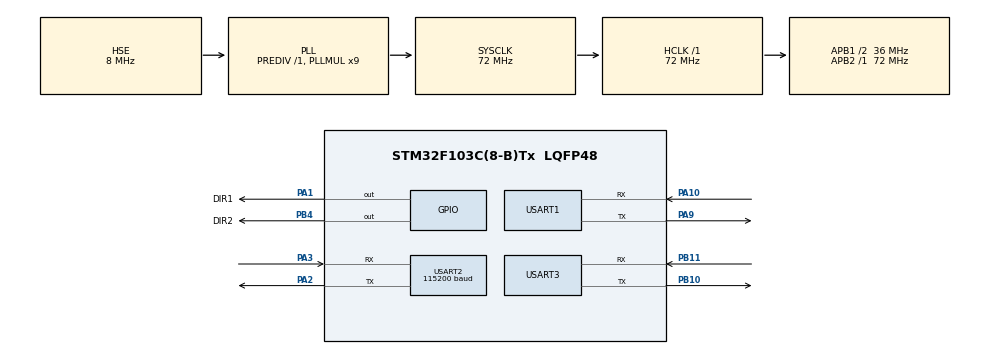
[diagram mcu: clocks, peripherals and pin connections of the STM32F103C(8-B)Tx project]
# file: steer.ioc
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Dma.Request0=USART1_RX
Dma.USART1_RX.0.Direction=DMA_PERIPH_TO_MEMORY
Dma.USART1_RX.0.Instance=DMA1_Channel5
Dma.USART1_RX.0.MemDataAlignment=DMA_MDATAALIGN_BYTE
Dma.USART1_RX.0.MemInc=DMA_MINC_ENABLE
Dma.USART1_RX.0.Mode=DMA_CIRCULAR
Dma.USART1_RX.0.PeriphDataAlignment=DMA_PDATAALIGN_BYTE
Dma.USART1_RX.0.PeriphInc=DMA_PINC_DISABLE
Dma.USART1_RX.0.Priority=DMA_PRIORITY_LOW
Mcu.Family=STM32F1
Mcu.Name=STM32F103C(8-B)Tx
Mcu.Package=LQFP48
NVIC.DMA1_Channel5_IRQn=true\:0\:0\:false\:false\:true\:false\:true\:true
NVIC.PriorityGroup=NVIC_PRIORITYGROUP_4
NVIC.USART1_IRQn=true\:0\:0\:false\:false\:true\:true\:true\:true
NVIC.USART2_IRQn=true\:0\:0\:false\:false\:true\:true\:true\:true
NVIC.USART3_IRQn=true\:0\:0\:false\:false\:true\:true\:true\:true
PA1.GPIO_Label=DIR1
PA1.PinState=GPIO_PIN_RESET
PA1.Signal=GPIO_Output
PA10.Mode=Asynchronous
PA10.Signal=USART1_RX
PA13.Mode=Serial_Wire
PA13.Signal=SYS_JTMS-SWDIO
PA14.Mode=Serial_Wire
PA14.Signal=SYS_JTCK-SWCLK
PA2.Mode=Asynchronous
PA2.Signal=USART2_TX
PA3.Mode=Asynchronous
PA3.Signal=USART2_RX
PA9.Mode=Asynchronous
PA9.Signal=USART1_TX
PB10.Mode=Asynchronous
PB10.Signal=USART3_TX
PB11.Mode=Asynchronous
PB11.Signal=USART3_RX
PB4.GPIO_Label=DIR2
PB4.Signal=GPIO_Output
PC14-OSC32_IN.Mode=LSE-External-Oscillator
PC14-OSC32_IN.Signal=RCC_OSC32_IN
PC15-OSC32_OUT.Mode=LSE-External-Oscillator
PC15-OSC32_OUT.Signal=RCC_OSC32_OUT
PD0-OSC_IN.Mode=HSE-External-Oscillator
PD0-OSC_IN.Signal=RCC_OSC_IN
PD1-OSC_OUT.Mode=HSE-External-Oscillator
PD1-OSC_OUT.Signal=RCC_OSC_OUT
ProjectManager.HeapSize=0x200
ProjectManager.StackSize=0x400
ProjectManager.TargetToolchain=STM32CubeIDE
RCC.AHBFreq_Value=72000000
RCC.APB1CLKDivider=RCC_HCLK_DIV2
RCC.APB1Freq_Value=36000000
RCC.APB1TimFreq_Value=72000000
RCC.APB2Freq_Value=72000000
RCC.APB2TimFreq_Value=72000000
RCC.HCLKFreq_Value=72000000
RCC.PLLMUL=RCC_PLL_MUL9
RCC.PLLSourceVirtual=RCC_PLLSOURCE_HSE
RCC.SYSCLKFreq_VALUE=72000000
RCC.SYSCLKSource=RCC_SYSCLKSOURCE_PLLCLK
RCC.USBFreq_Value=72000000
USART1.VirtualMode=VM_ASYNC
USART2.BaudRate=115200
USART2.VirtualMode=VM_ASYNC
USART3.VirtualMode=VM_ASYNC
VP_TIM1_VS_ClockSourceINT.Mode=Internal
board=custom

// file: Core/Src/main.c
/* USER CODE BEGIN Header */
/**
  ******************************************************************************
  * @file           : main.c
  * @brief          : Main program body
  ******************************************************************************
  * @attention
  *
  * Copyright (c) 2025 STMicroelectronics.
  * All rights reserved.
  *
  * This software is licensed under terms that can be found in the LICENSE file
  * in the root directory of this software component.
  * If no LICENSE file comes with this software, it is provided AS-IS.
  *
  ******************************************************************************
  */
/* USER CODE END Header */
#include "main.h"
#include "dma.h"
#include "tim.h"
#include "usart.h"
#include "gpio.h"

/* USER CODE BEGIN Includes */
#include "uart_protocol.h"
/* USER CODE END Includes */

/* USER CODE BEGIN PTD */
ServoState_t ServoTargets[9];
volatile uint8_t NewPositionAvailable = 0;
volatile uint8_t NewSpeedAvailable = 0;

typedef struct {
    uint8_t id;
    uint16_t length;
    uint8_t inst;
    uint8_t error;
    uint16_t position;
    uint8_t crc1;
    uint8_t crc2;
} X320PositionInfo;
/* USER CODE END PTD */

/* USER CODE BEGIN PV */
/*                  		֡ͷ                  id      length       instruct    address     parameters               crc          */
uint8_t torqueFrame[]={  0xFF,0xFF,0xFD,0x00,  0x00,   0x06,0x00,   0x03,      0x40,0x00,   0x01,                   0x00,0x00};
uint8_t ledFrame[]={     0xFF,0xFF,0xFD,0x00,  0x00,   0x06,0x00,   0x03,      0x19,0x00,   0x01,                   0x00,0x00};
uint8_t ctrlModeFrame[]={0xFF,0xFF,0xFD,0x00,  0x00,   0x06,0x00,   0x03,      0x0B,0x00,   0x02,                   0x00,0x00};
uint8_t xl320PFrame[]={  0xFF,0xFF,0xFD,0x00,  0x00,   0x07,0x00,   0x03,      0x1e,0x00,   0x01,0x00,              0x65,0x6D};
uint8_t xl320MSFrame[]={ 0xFF,0xFF,0xFD,0x00,  0x00,   0x07,0x00,   0x03,      0x20,0x00,   0x01,0x00,              0x65,0x6D};
uint8_t xl320PGFrame[]={ 0xFF,0xFF,0xFD,0x00,  0x00,   0x06,0x00,   0x03,      0x1D,0x00,   0x20,                   0x65,0x6D};

uint8_t xl320PRead[]={   0xFF,0xFF,0xFD,0x00,  0x00,   0x07,0x00,   0x02,      0x25,0x00,   0x02,0x00,              0x21,0xB5};
uint8_t xl320ReadMovingCmd[] = {0xFF, 0xFF, 0xFD, 0x00, 0x01, 0x07, 0x00, 0x02, 0x31, 0x00, 0x01, 0x00, 0x00, 0x00};
X320PositionInfo *xl320_1=0;
uint8_t xl320_1_data[9];

// 添加读取位置指令帧
uint8_t xl320ReadGoalPosition[] = {0xFF,0xFF,0xFD,0x00,0x00,0x07,0x00,0x02,0x25,0x00,0x02,0x00,0x21,0xB5};

// 串口接收缓冲区
uint8_t uart2_rx_buffer[32];

#define UART1_RX_BUFFER_SIZE 32
uint8_t uart1_rx_buffer[UART1_RX_BUFFER_SIZE]; // 存储接收到的一行指令
uint8_t aRxBuffer[1]; // 接收中断缓冲
volatile uint16_t uart1_rx_index = 0;          // 接收缓冲区的索引
volatile uint8_t uart1_flag = 0;   // 一行数据接收完成的标志

char message[50];
 uint16_t len;

#define XL320_ADDR_MOVING     49  // Moving寄存器地址 (0x31)
#define READ_INST             0x02 // 读指令

/* USER CODE END PV */

void SystemClock_Config(void);

int main(void)
{

  /* MCU Configuration--------------------------------------------------------*/

  /* Reset of all peripherals, Initializes the Flash interface and the Systick. */
  HAL_Init();

  /* Configure the system clock */
  SystemClock_Config();

  /* Initialize all configured peripherals */
  MX_GPIO_Init();
  MX_DMA_Init();
  MX_USART1_UART_Init();
  MX_TIM1_Init();
  MX_USART2_UART_Init();
  MX_USART3_UART_Init();
  /* USER CODE BEGIN 2 */
//  HAL_UART_Receive_IT(&huart1, (uint8_t *)aRxBuffer, 1);
//  __HAL_UART_ENABLE_IT(&huart1, UART_IT_IDLE); // 使能空闲中断
//  HAL_UART_Receive_DMA(&huart1, RxBuf1, RX_MAX_BUF); // 启动DMA接收
  /* USER CODE END WHILE */
  //TestAccuracy(1,50);
  xlSeriesStart();
//  uint8_t tested_id = 1;

//  xlSeriesTorque(2, 0x01, XL320Torque);
//  xl320SendPosition(tested_id, 800);
//  HAL_Delay(1000);
//  xl320CheckMovingStatus(tested_id);
//  ReadPositionAndSendToPC(tested_id);
//  xlSeriesLed(tested_id, LED_GREEN, XL320Led);
//  HAL_Delay(100);
  uint8_t last_send_time = HAL_GetTick();
  sys_data.update_status = true;
  /* USER CODE END 2 */

  /* Infinite loop */
  /* USER CODE BEGIN WHILE */
  while (1)
  {
	  uart_protocol_decode();
	  system_task_schedule();
//	xl320CheckMovingStatus(tested_id);
//	  if (HAL_GetTick() - last_send_time > 100)
//	      {
//	          Read9ServosAndSend_Protocol();
//	          last_send_time = HAL_GetTick();
//	      }
    /* USER CODE END WHILE */

  }
}

void SystemClock_Config(void)
{
  RCC_OscInitTypeDef RCC_OscInitStruct = {0};
  RCC_ClkInitTypeDef RCC_ClkInitStruct = {0};

  /** Initializes the RCC Oscillators according to the specified parameters
  * in the RCC_OscInitTypeDef structure.
  */
  RCC_OscInitStruct.OscillatorType = RCC_OSCILLATORTYPE_HSE;
  RCC_OscInitStruct.HSEState = RCC_HSE_ON;
  RCC_OscInitStruct.HSEPredivValue = RCC_HSE_PREDIV_DIV1;
  RCC_OscInitStruct.HSIState = RCC_HSI_ON;
  RCC_OscInitStruct.PLL.PLLState = RCC_PLL_ON;
  RCC_OscInitStruct.PLL.PLLSource = RCC_PLLSOURCE_HSE;
  RCC_OscInitStruct.PLL.PLLMUL = RCC_PLL_MUL9;
  if (HAL_RCC_OscConfig(&RCC_OscInitStruct) != HAL_OK)
  {
    Error_Handler();
  }

  /** Initializes the CPU, AHB and APB buses clocks
  */
  RCC_ClkInitStruct.ClockType = RCC_CLOCKTYPE_HCLK|RCC_CLOCKTYPE_SYSCLK
                              |RCC_CLOCKTYPE_PCLK1|RCC_CLOCKTYPE_PCLK2;
  RCC_ClkInitStruct.SYSCLKSource = RCC_SYSCLKSOURCE_PLLCLK;
  RCC_ClkInitStruct.AHBCLKDivider = RCC_SYSCLK_DIV1;
  RCC_ClkInitStruct.APB1CLKDivider = RCC_HCLK_DIV2;
  RCC_ClkInitStruct.APB2CLKDivider = RCC_HCLK_DIV1;

  if (HAL_RCC_ClockConfig(&RCC_ClkInitStruct, FLASH_LATENCY_2) != HAL_OK)
  {
    Error_Handler();
  }
}

/* USER CODE BEGIN 4 */
/**
  * @brief  初始化舵机系统
  * @retval None
  */
void xlSeriesStart(void)
{
    // 初始化LED和扭矩

    for(uint8_t id=1; id <= 9;id++){
    	xlSeriesControlMode(id, 2);
    	HAL_Delay(100);
    	xl320SendMovingSpeed(id, 80);
    	HAL_Delay(100);
    	xlSeriesLed(id, LED_PURPLE, XL320Led);
    	HAL_Delay(200);
    }

}

/**
  * @brief  设置通信方向
  * @param  tx_mode: 1=发送模式, 0=接收模式
  * @retval None
  */
void xlSeriesSetDirection(uint8_t tx_mode)
{
    if (tx_mode) {
        HAL_GPIO_WritePin(DIR1_GPIO_Port, DIR1_Pin, GPIO_PIN_SET);
    } else {
        HAL_GPIO_WritePin(DIR1_GPIO_Port, DIR1_Pin, GPIO_PIN_RESET);
    }
}

/**
  * @brief  发送数据帧
  * @param  huart: 串口句柄
  * @param  frame: 数据帧指针
  * @param  length: 数据长度
  * @retval None
  */
void xlSeriesSendFrame(UART_HandleTypeDef *huart, uint8_t *frame, uint16_t length)
{
    xlSeriesSetDirection(1); // 设置为发送模式

    HAL_UART_Transmit(huart, frame, length, 100);

    // 等待发送完成
    while (HAL_UART_GetState(huart) != HAL_UART_STATE_READY);

    xlSeriesSetDirection(0); // 切换回接收模式
}

/**
  * @brief  CRC计算函数
  * @param  crc_accum: 初始CRC值
  * @param  data_blk_ptr: 数据指针
  * @param  data_blk_size: 数据长度
  * @retval 计算后的CRC值
  */
uint16_t updateCRC(uint16_t crc_accum, uint8_t *data_blk_ptr, uint16_t data_blk_size)
{
	  uint16_t i, j;
	  static const uint16_t crc_table[256] = { 0x0000,
	    0x8005, 0x800F, 0x000A, 0x801B, 0x001E, 0x0014, 0x8011,
	    0x8033, 0x0036, 0x003C, 0x8039, 0x0028, 0x802D, 0x8027,
	    0x0022, 0x8063, 0x0066, 0x006C, 0x8069, 0x0078, 0x807D,
	    0x8077, 0x0072, 0x0050, 0x8055, 0x805F, 0x005A, 0x804B,
	    0x004E, 0x0044, 0x8041, 0x80C3, 0x00C6, 0x00CC, 0x80C9,
	    0x00D8, 0x80DD, 0x80D7, 0x00D2, 0x00F0, 0x80F5, 0x80FF,
	    0x00FA, 0x80EB, 0x00EE, 0x00E4, 0x80E1, 0x00A0, 0x80A5,
	    0x80AF, 0x00AA, 0x80BB, 0x00BE, 0x00B4, 0x80B1, 0x8093,
	    0x0096, 0x009C, 0x8099, 0x0088, 0x808D, 0x8087, 0x0082,
	    0x8183, 0x0186, 0x018C, 0x8189, 0x0198, 0x819D, 0x8197,
	    0x0192, 0x01B0, 0x81B5, 0x81BF, 0x01BA, 0x81AB, 0x01AE,
	    0x01A4, 0x81A1, 0x01E0, 0x81E5, 0x81EF, 0x01EA, 0x81FB,
	    0x01FE, 0x01F4, 0x81F1, 0x81D3, 0x01D6, 0x01DC, 0x81D9,
	    0x01C8, 0x81CD, 0x81C7, 0x01C2, 0x0140, 0x8145, 0x814F,
	    0x014A, 0x815B, 0x015E, 0x0154, 0x8151, 0x8173, 0x0176,
	    0x017C, 0x8179, 0x0168, 0x816D, 0x8167, 0x0162, 0x8123,
	    0x0126, 0x012C, 0x8129, 0x0138, 0x813D, 0x8137, 0x0132,
	    0x0110, 0x8115, 0x811F, 0x011A, 0x810B, 0x010E, 0x0104,
	    0x8101, 0x8303, 0x0306, 0x030C, 0x8309, 0x0318, 0x831D,
	    0x8317, 0x0312, 0x0330, 0x8335, 0x833F, 0x033A, 0x832B,
	    0x032E, 0x0324, 0x8321, 0x0360, 0x8365, 0x836F, 0x036A,
	    0x837B, 0x037E, 0x0374, 0x8371, 0x8353, 0x0356, 0x035C,
	    0x8359, 0x0348, 0x834D, 0x8347, 0x0342, 0x03C0, 0x83C5,
	    0x83CF, 0x03CA, 0x83DB, 0x03DE, 0x03D4, 0x83D1, 0x83F3,
	    0x03F6, 0x03FC, 0x83F9, 0x03E8, 0x83ED, 0x83E7, 0x03E2,
	    0x83A3, 0x03A6, 0x03AC, 0x83A9, 0x03B8, 0x83BD, 0x83B7,
	    0x03B2, 0x0390, 0x8395, 0x839F, 0x039A, 0x838B, 0x038E,
	    0x0384, 0x8381, 0x0280, 0x8285, 0x828F, 0x028A, 0x829B,
	    0x029E, 0x0294, 0x8291, 0x82B3, 0x02B6, 0x02BC, 0x82B9,
	    0x02A8, 0x82AD, 0x82A7, 0x02A2, 0x82E3, 0x02E6, 0x02EC,
	    0x82E9, 0x02F8, 0x82FD, 0x82F7, 0x02F2, 0x02D0, 0x82D5,
	    0x82DF, 0x02DA, 0x82CB, 0x02CE, 0x02C4, 0x82C1, 0x8243,
	    0x0246, 0x024C, 0x8249, 0x0258, 0x825D, 0x8257, 0x0252,
	    0x0270, 0x8275, 0x827F, 0x027A, 0x826B, 0x026E, 0x0264,
	    0x8261, 0x0220, 0x8225, 0x822F, 0x022A, 0x823B, 0x023E,
	    0x0234, 0x8231, 0x8213, 0x0216, 0x021C, 0x8219, 0x0208,
	    0x820D, 0x8207, 0x0202 };

	  for (j = 0; j < data_blk_size; j++)
	  {
	    i = ((uint16_t)(crc_accum >> 8) ^ *data_blk_ptr++) & 0xFF;
	    crc_accum = (crc_accum << 8) ^ crc_table[i];
	  }

	  return crc_accum;
}

/**
  * @brief  控制舵机LED
  * @param  id: 舵机ID
  * @param  on: LED状态
  * @param  address: LED地址
  * @retval None
  */
void xlSeriesLed(uint8_t id, uint8_t on, uint8_t address)
{
    uint16_t crc;

    ledFrame[4] = id;
    ledFrame[8] = address;
    ledFrame[10] = on;

    crc = updateCRC(0, ledFrame, 11);
    ledFrame[11] = (uint8_t)(crc & 0xff);
    ledFrame[12] = (uint8_t)((crc >> 8) & 0xff);

    xlSeriesSendFrame(&huart2, ledFrame, 13);
    HAL_Delay(1);
}

/**
  * @brief  控制舵机模式
  * @param  id: 舵机ID
  * @param  mode: 控制模式：1、滚动模式 2、关节模式
  * @retval None
  */
void xlSeriesControlMode(uint8_t id, uint8_t mode)
{
    uint16_t crc;

    ctrlModeFrame[4] = id;
    ctrlModeFrame[10] = mode;

    crc = updateCRC(0, ctrlModeFrame, 11);
    ctrlModeFrame[11] = (uint8_t)(crc & 0xff);
    ctrlModeFrame[12] = (uint8_t)((crc >> 8) & 0xff);

    xlSeriesSendFrame(&huart2, ctrlModeFrame, 13);
    HAL_Delay(1);
}

/**
  * @brief  控制舵机扭矩
  * @param  id: 舵机ID
  * @param  on: 扭矩状态
  * @param  address: 扭矩地址
  * @retval None
  */
void xlSeriesTorque(uint8_t id, uint8_t on, uint8_t address)
{
    uint16_t crc;

    torqueFrame[4] = id;
    torqueFrame[8] = address;
    torqueFrame[10] = on;

    crc = updateCRC(0, torqueFrame, 11);
    torqueFrame[11] = (uint8_t)(crc & 0xff);
    torqueFrame[12] = (uint8_t)((crc >> 8) & 0xff);

    xlSeriesSendFrame(&huart2, torqueFrame, 13);
    HAL_Delay(1);
}

/**
  * @brief  设置XL320舵机位置
  * @param  id: 舵机ID
  * @param  position: 目标位置
  * @retval None
  */
void xl320SendPosition(uint8_t id, uint16_t position)
{
    uint16_t crc;

    xl320PFrame[4] = id;
    xl320PFrame[10] = (uint8_t)(position & 0xFF);
    xl320PFrame[11] = (uint8_t)((position >> 8) & 0xFF);

    crc = updateCRC(0, xl320PFrame, 12);
    xl320PFrame[12] = (uint8_t)(crc & 0xff);
    xl320PFrame[13] = (uint8_t)((crc >> 8) & 0xff);

    xlSeriesSendFrame(&huart2, xl320PFrame, 14);
    HAL_Delay(1);
}
/**
 * @brief 读取XL320舵机位置
 * @param id: 舵机ID
 * @retval None
 */
uint16_t xl320ReadPosition(uint8_t id)
{
    uint16_t crc;

    // 更新ID
    xl320ReadGoalPosition[4] = id;

    // 计算CRC（从包头到参数结束，不包括CRC字段）
    crc = updateCRC(0, xl320ReadGoalPosition, 12);
    xl320ReadGoalPosition[12] = (uint8_t)(crc & 0xFF);
    xl320ReadGoalPosition[13] = (uint8_t)((crc >> 8) & 0xFF);

    // 发送读取指令
    xlSeriesSendFrame(&huart2, xl320ReadGoalPosition, 14);

    // 启动串口接收
    // 使用轮询接收
    uint8_t length = 13;
	HAL_StatusTypeDef status = HAL_UART_Receive(&huart2, uart2_rx_buffer, length, 200);

	if (status == HAL_OK) {
//		position_received = 1;
		if (verifyPositionPacket(uart2_rx_buffer)) {
			uint16_t current_position = (uint16_t)(uart2_rx_buffer[10] << 8) | uart2_rx_buffer[9];
			return current_position;
		} else {
			memset(uart2_rx_buffer, 0, sizeof(uart2_rx_buffer));
			xlSeriesLed(SERVO_ID, LED_RED, XL320Led);
			return 0xFFF0; // 返回错误值
		}
	} else {
//		position_received = 0;
		return 0xFFFF; // 未接收到数据
	}
}

/**
 * @brief 验证位置数据包的有效性
 * @param data: 接收到的数据
 * @retval 1:有效 0:无效
 */
uint8_t verifyPositionPacket(uint8_t *data)
{
    // 检查包头
    if (data[0] != 0xFF || data[1] != 0xFF || data[2] != 0xFD || data[3] != 0x00) {
        return 0;
    }

    // 检查指令（应该是0x55，即读取应答）
    if (data[7] != 0x55) {
        return 0;
    }

    return 1;
}

/**
 * @brief 读取舵机位置并通过串口1发送到PC
 * @param id: 舵机ID
 * @retval 位置信息
 */
uint16_t ReadPositionAndSendToPC(uint8_t id)
{
    char message[50];
    uint16_t len;

    uint16_t current_position = xl320ReadPosition(id);

    HAL_Delay(20);

    len = sprintf(message, "Servo ID:%d, Position:%d\r\n", id, current_position);
    HAL_UART_Transmit(&huart1, (uint8_t*)message, len, 50);
//    Debug_Print(message, len);

    HAL_Delay(50);

    return current_position;
}
void Control9Servos(void)
{
	if(NewSpeedAvailable)
	    {
	        NewSpeedAvailable = 0; // 清除标志
	        for(int i = 0; i < 9; i++)
	        {
	        	xl320SendMovingSpeed(ServoTargets[i].id, ServoTargets[i].speed);
	              HAL_Delay(300);
	        }
	    }
	if(NewPositionAvailable)
		    {
		NewPositionAvailable = 0; // 清除标志
		        for(int i = 0; i < 9; i++)
		        {
		             xl320SendPosition(ServoTargets[i].id, ServoTargets[i].position);
		              HAL_Delay(400);
		        }
		    }
}
void Read9ServosAndSend_Protocol(void)
{
    uint8_t tx_packet[40]; // 缓冲区
    uint16_t positions[9];
    uint16_t data_len = 27; // 9个舵机 * 3字节
    int idx = 0;
    uint8_t sum = 0;

    //读取数据
    for(uint8_t i = 0; i < 9; i++)
    {
        positions[i] = xl320ReadPosition(i + 1); // ID从1开始
        HAL_Delay(100); // 极短延时防冲突
    }

    // 组包
    tx_packet[idx++] = 0xA8;          // 帧头
    tx_packet[idx++] = 0x81;          // 功能码 (0x81 表示位置反馈)
    tx_packet[idx++] = data_len & 0xFF;        // 长度低位
    tx_packet[idx++] = (data_len >> 8) & 0xFF; // 长度高位

    // 填充数据段 (ID + Position)
    for(uint8_t i = 0; i < 9; i++)
    {
        tx_packet[idx++] = i + 1; // ID (1~9)
        tx_packet[idx++] = positions[i] & 0xFF;        // 位置低8位
        tx_packet[idx++] = (positions[i] >> 8) & 0xFF; // 位置高8位
    }

    // 计算校验和
    // 从帧头开始一直加到数据段结束
    for(int i = 0; i < idx; i++)
    {
        sum += tx_packet[i];
    }
    tx_packet[idx++] = sum; // 填入校验和

    // 4. 发送二进制数据包
    HAL_UART_Transmit(&huart1, tx_packet, idx, 500);
}
/**
 * @brief 发送读取Moving状态的指令
 * @param id: 舵机ID
 * @retval None
 */
void xl320RequestMovingStatus(uint8_t id)
{
    uint16_t crc;

    // 1. 配置指令包参数
    xl320ReadMovingCmd[4] = id;            // 设置ID
    xl320ReadMovingCmd[8] = XL320_ADDR_MOVING; // 设置起始地址 (49)
    xl320ReadMovingCmd[9] = 0x00;          // 地址高位
    xl320ReadMovingCmd[10] = 0x01;         // 读取长度: 1字节
    xl320ReadMovingCmd[11] = 0x00;         // 长度高位

    // 2. 计算CRC (从包头到参数结束，不包括CRC字段，共12字节)
    crc = updateCRC(0, xl320ReadMovingCmd, 12);
    xl320ReadMovingCmd[12] = (uint8_t)(crc & 0xFF);
    xl320ReadMovingCmd[13] = (uint8_t)((crc >> 8) & 0xFF);

    // 3. 发送指令
    xlSeriesSendFrame(&huart2, xl320ReadMovingCmd, 14);
}

/**
 * @brief 读取并解析舵机是否正在运动
 * @param id: 舵机ID
 * @retval 0: 运动结束(停止), 1: 正在运动, 0xFF: 读取失败
 */
uint8_t xl320CheckMovingStatus(uint8_t id)
{
    // 1. 发送读取请求
    xl320RequestMovingStatus(id);

    // 2. 接收响应
    // 响应包长度计算: Header(4) + ID(1) + Len(2) + Inst(1) + Err(1) + Data(1) + CRC(2) = 12字节
    uint8_t rx_len = 12;

    HAL_StatusTypeDef status = HAL_UART_Receive(&huart2, uart2_rx_buffer, rx_len, 50);

    if (status != HAL_OK) {
        return 0xFF;
    }

    if (uart2_rx_buffer[0] != 0xFF || uart2_rx_buffer[1] != 0xFF ||
        uart2_rx_buffer[2] != 0xFD || uart2_rx_buffer[7] != 0x55) {
        return 0xFF;
    }

    if (uart2_rx_buffer[8] != 0x00) {
        return 0xFF;
    }

    // 4. 解析Moving状态
    // 数据位于 Error(Index 8) 之后 -> Index 9
    uint8_t is_moving = uart2_rx_buffer[9];
    len = sprintf(message, "is_moving:%d\r\n",is_moving);
    HAL_UART_Transmit_IT(&huart1, (uint8_t*)message, len);
       // 5. 通过串一发送到PC
//    Debug_Print(movingmessage, movinglen);
    return is_moving; // 返回 1 或 0
}

/**
  * @brief  设置XL320转速
  * @param  id: 舵机ID
  * @param  movingSpeed: 目标位置
  * @retval None
  */
void xl320SendMovingSpeed(uint8_t id, uint16_t movingSpeed)
{
    uint16_t crc;

    xl320MSFrame[4] = id;
    xl320MSFrame[10] = (uint8_t)(movingSpeed & 0xFF);
    xl320MSFrame[11] = (uint8_t)((movingSpeed >> 8) & 0xFF);

    crc = updateCRC(0, xl320MSFrame, 12);
    xl320MSFrame[12] = (uint8_t)(crc & 0xff);
    xl320MSFrame[13] = (uint8_t)((crc >> 8) & 0xff);

    xlSeriesSendFrame(&huart2, xl320MSFrame, 14);
    HAL_Delay(1);
}

/**
  * @brief  设置XL320舵机P增益
  * @param  id: 舵机ID
  * @param  pGain: P增益值
  * @retval None
  */
void xl320SendPGain(uint8_t id, uint8_t pGain)
{
    uint16_t crc;

    xl320PGFrame[4] = id;
    xl320PGFrame[10] = pGain;

    crc = updateCRC(0, xl320PGFrame, 11);
    xl320PGFrame[11] = (uint8_t)(crc & 0xff);
    xl320PGFrame[12] = (uint8_t)((crc >> 8) & 0xff);

    xlSeriesSendFrame(&huart2, xl320PGFrame, 13);
    HAL_Delay(2);
}

/**
  * @brief  舵机电源控制
  * @param  isOn: 电源状态 (1=开启, 0=关闭)
  * @retval None
  */
void xlPowerOff(uint8_t isOn)
{
    if(isOn){
        // 开启所有舵机
        xlSeriesTorque(SERVO_ID_1, 0x01, XL430Torque);
        xlSeriesTorque(SERVO_ID_2, 0x01, XL430Torque);
        xlSeriesTorque(SERVO_ID, 0x01, XL320Torque);

        xlSeriesLed(SERVO_ID_1, 0x01, XL430Led);
        xlSeriesLed(SERVO_ID_2, 0x01, XL430Led);
        xlSeriesLed(SERVO_ID, 0x01, XL320Led);
    } else {
        // 关闭所有舵机
        xlSeriesTorque(SERVO_ID_1, 0x00, XL430Torque);
        xlSeriesTorque(SERVO_ID_2, 0x00, XL430Torque);
        xlSeriesTorque(SERVO_ID, 0x00, XL320Torque);

        xlSeriesLed(SERVO_ID_1, 0x00, XL430Led);
        xlSeriesLed(SERVO_ID_2, 0x00, XL430Led);
        xlSeriesLed(SERVO_ID, 0x00, XL320Led);
    }
}

/* USER CODE END 4 */

void Error_Handler(void)
{
  __disable_irq();
  while (1)
  {
  }
}
